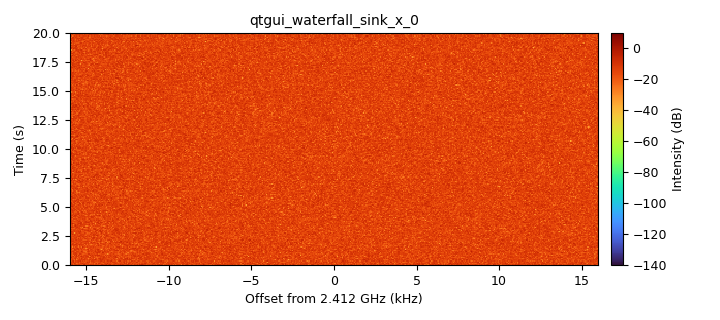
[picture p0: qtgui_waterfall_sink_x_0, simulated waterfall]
options:
  parameters:
    generate_options: qt_gui
    id: wifi
    output_language: python
    title: Not titled yet
  states: {}

blocks:
- name: samp_rate
  id: variable
  parameters:
    value: '32000'
  states: {}
- name: wifi_freq
  id: variable
  parameters:
    value: '2412000000'
  states: {}
- name: analog_noise_source_x_0
  id: analog_noise_source_x
  parameters:
    amp: '10'
    noise_type: analog.GR_GAUSSIAN
    seed: '1'
    type: complex
  states: {}
- name: osmosdr_sink_0
  id: osmosdr_sink
  parameters:
    bb_gain0: '20'
    freq0: wifi_freq
    gain0: '47'
    if_gain0: '20'
    sample_rate: samp_rate
    sync: sync
    type: fc32
  states: {}
- name: qtgui_waterfall_sink_x_0
  id: qtgui_waterfall_sink_x
  parameters:
    bw: samp_rate
    fc: wifi_freq
    fftsize: '1024'
    grid: 'True'
    type: complex
    wintype: firdes.WIN_HANN
  states: {}

connections:
- [analog_noise_source_x_0, '0', osmosdr_sink_0, '0']
- [analog_noise_source_x_0, '0', qtgui_waterfall_sink_x_0, '0']

metadata:
  file_format: 1
